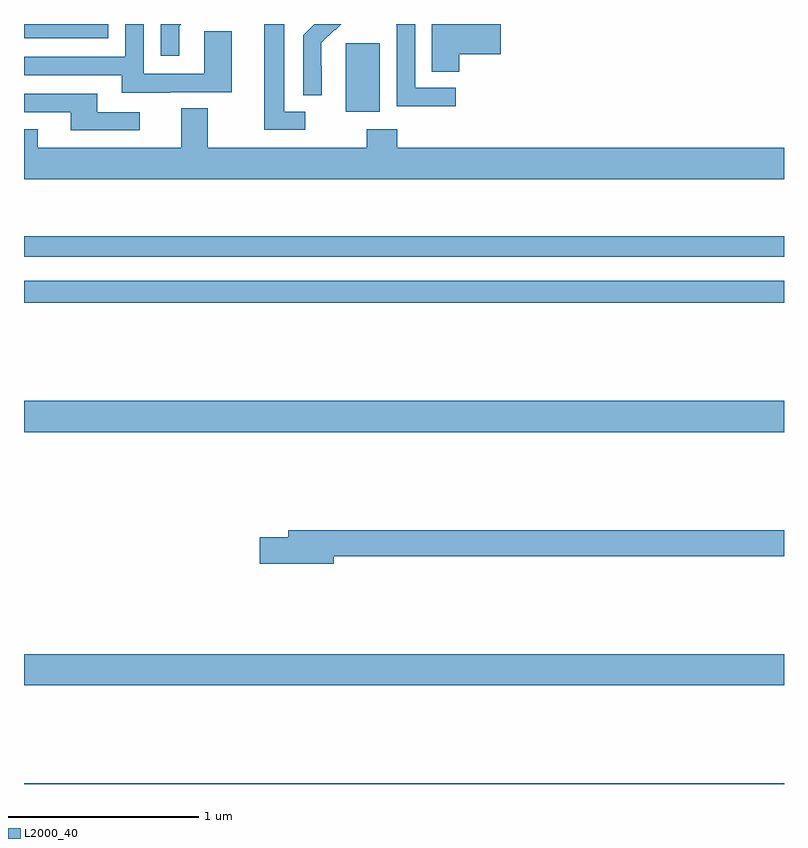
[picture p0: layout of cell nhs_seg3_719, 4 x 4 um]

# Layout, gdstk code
import gdstk
lib = gdstk.Library(unit=1e-6, precision=1e-09)
def R(c, l, rs):  # rectangles x0, y0, x1, y1
    for r in rs: c.add(gdstk.rectangle(r[:2], r[2:], *l))
def P(c, l, *ps):  # polygons
    for p in ps: c.add(gdstk.Polygon(p, *l))
L2000_40 = (2000, 40)

nhs_seg3_719 = lib.new_cell('nhs_seg3_719')
R(nhs_seg3_719, L2000_40, [(147,696.4,151,696.404), (147,696.92,151,697.084), (147,698.252,151,698.416), (147,698.932,151,699.048), (147,699.174,151,699.283), (148.694,699.938,148.873,700.299), (147,700.326,147.444,700.4)])
P(nhs_seg3_719, L2000_40, [(147.817,700.389),(147.828,700.4),(147.72,700.4),(147.72,700.233),(147.817,700.233)],
  [(149.291,700.241),(149.509,700.241),(149.509,700.4),(149.147,700.4),(149.147,700.15),(149.291,700.15)],
  [(147.769,700.041),(148.093,700.041),(148.093,700.361),(147.948,700.361),(147.948,700.137),(147.63,700.137),(147.63,700.4),(147.534,700.4),(147.534,700.227),(147,700.227),(147,700.131),(147.515,700.131),(147.515,700.037),(147.769,700.037)],
  [(149.272,700.065),(149.058,700.065),(149.058,700.4),(148.96,700.4),(148.96,700.396),(148.962,700.396),(148.962,699.967),(149.272,699.967)],
  [(148.566,700.178),(148.565,700.178),(148.565,700.301),(148.635,700.371),(148.638,700.368),(148.67,700.4),(148.528,700.4),(148.47,700.342),(148.47,700.024),(148.566,700.024)],
  [(148.48,699.939),(148.369,699.939),(148.369,700.4),(148.265,700.4),(148.265,699.843),(148.48,699.843)],
  [(147.61,699.936),(147.385,699.936),(147.385,700.032),(147,700.032),(147,699.936),(147.245,699.936),(147.245,699.84),(147.61,699.84)],
  [(151,699.748),(148.964,699.748),(148.964,699.847),(148.804,699.847),(148.804,699.748),(147.967,699.748),(147.967,699.956),(147.827,699.956),(147.827,699.748),(147.073,699.748),(147.073,699.847),(147,699.847),(147,699.584),(151,699.584)],
  [(148.63,697.6),(151,697.6),(151,697.736),(148.391,697.736),(148.391,697.7),(148.242,697.7),(148.242,697.558),(148.63,697.558)])

lib.write_gds('nhs_seg3_719.gds')
